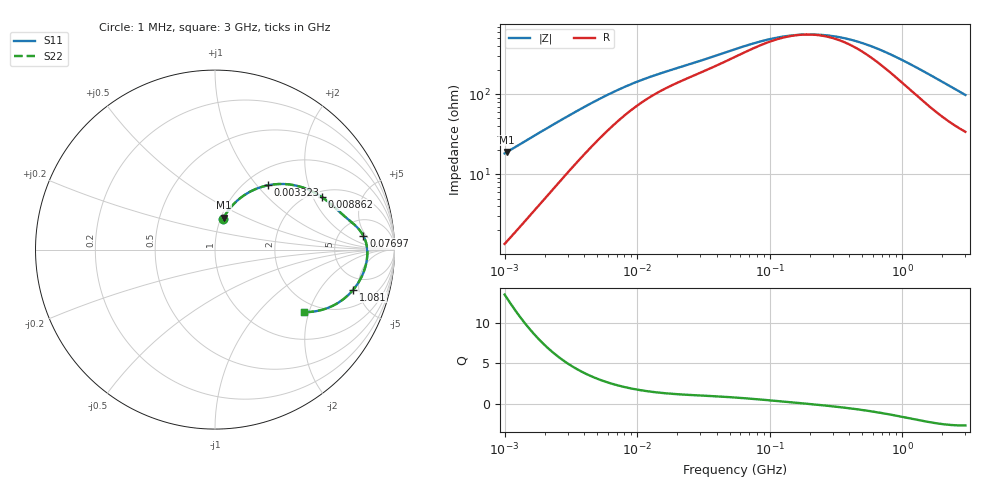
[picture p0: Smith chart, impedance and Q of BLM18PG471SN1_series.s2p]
! BLM18PG471SN1
# Hz S RI R 50
!Freq.(Hz) S11(Real) S11(Imag) S21(Real) S21(Imag) S12(Real) S12(Imag) S22(Real) S22(Imag)
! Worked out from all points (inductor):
!   401 points, 1 MHz to 3 GHz, reference 50 ohm
!   read as one part in series: L = 2.89 uH near 1.041 MHz
!   highest Q = 13 at 1.041 MHz (marker M1), where L = 2.9 uH
!   self-resonance near 184.2 MHz
!   S11 on the Smith chart (normalised r, x): 1 MHz: 1.03, +0.36; 3.323 MHz: 1.26, +1.15; 8.862 MHz: 2.24, +2.35; 76.97 MHz: 8.64, +4.26; 1.081 GHz: 3.50, -4.37; 3 GHz: 1.68, -1.84
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1000000  0.0443 0.1721  0.9557 -0.1721  0.9557 -0.1721  0.0443 0.1721
1040844  0.0477 0.1782  0.9523 -0.1782  0.9523 -0.1782  0.0477 0.1782
1405328  0.0816 0.2284  0.9184 -0.2284  0.9184 -0.2284  0.0816 0.2284
1859846  0.1308 0.2789  0.8692 -0.2789  0.8692 -0.2789  0.1308 0.2789
2461366  0.2006 0.3253  0.7994 -0.3253  0.7994 -0.3253  0.2006 0.3253
3323290  0.296 0.3584  0.704 -0.3584  0.704 -0.3584  0.296 0.3584
3823119  0.3448 0.3648  0.6552 -0.3648  0.6552 -0.3648  0.3448 0.3648
5481359  0.468 0.3524  0.532 -0.3524  0.532 -0.3524  0.468 0.3524
8861669  0.5952 0.2928  0.4048 -0.2928  0.4048 -0.2928  0.5952 0.2928
1.461624e7  0.6762 0.2263  0.3238 -0.2263  0.3238 -0.2263  0.6762 0.2263
5.477226e7  0.806 0.1078  0.194 -0.1078  0.194 -0.1078  0.806 0.1078
7.697298e7  0.8265 0.0767  0.1735 -0.0767  0.1735 -0.0767  0.8265 0.0767
1.295243e8  0.8438 0.0303  0.1562 -0.0303  0.1562 -0.0303  0.8438 0.0303
2.094008e8  0.8488 -0.0112  0.1512 0.0112  0.1512 0.0112  0.8488 -0.0112
2.884452e8  0.8478 -0.0404  0.1522 0.0404  0.1522 0.0404  0.8478 -0.0404
3.973271e8  0.843 -0.0735  0.157 0.0735  0.157 0.0735  0.843 -0.0735
5.473095e8  0.8324 -0.1129  0.1676 0.1129  0.1676 0.1129  0.8324 -0.1129
8.005644e8  0.8071 -0.1699  0.1929 0.1699  0.1929 0.1699  0.8071 -0.1699
1.080907e9  0.7712 -0.2224  0.2288 0.2224  0.2288 0.2224  0.7712 -0.2224
1.712864e9  0.6752 -0.3029  0.3248 0.3029  0.3248 0.3029  0.6752 -0.3029
2.312676e9  0.5837 -0.3389  0.4163 0.3389  0.4163 0.3389  0.5837 -0.3389
3e9  0.4937 -0.3482  0.5063 0.3482  0.5063 0.3482  0.4937 -0.3482
